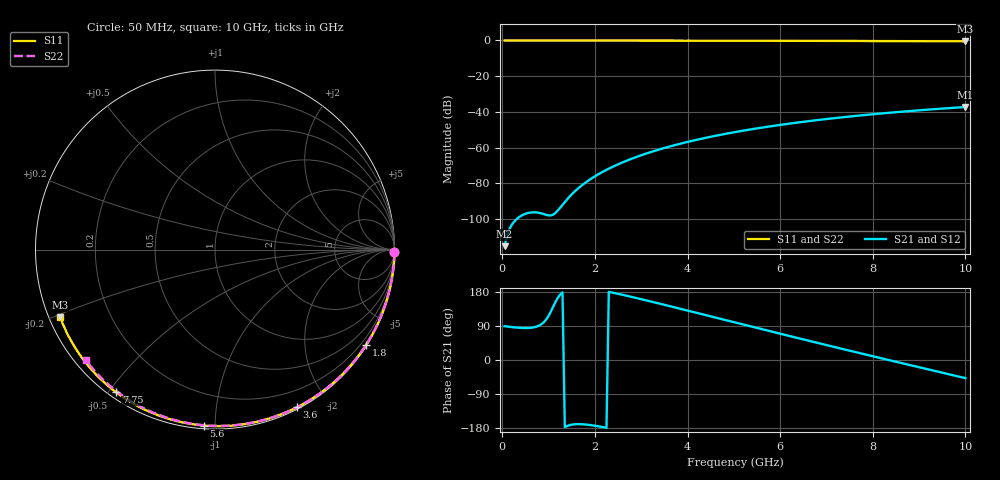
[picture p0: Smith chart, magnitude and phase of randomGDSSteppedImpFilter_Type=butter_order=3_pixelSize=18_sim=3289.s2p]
! freq	dB(S11)	phase(S11)	dB(S12)	phase(S12)
!  dB(S21)	phase(S21)	dB(S22)	phase(S22)
!S-par simulation data
#  GHz  S  DB  R 50
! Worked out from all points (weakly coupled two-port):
!   200 points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, 50 MHz to 10 GHz, reference 50 ohm
!   highest |S21| = -37.28 dB at 10 GHz (marker M1); lowest = -115.2 dB at 50 MHz (marker M2)
!   lowest |S11| = -0.5 dB at 10 GHz (marker M3), VSWR 33.03, Z = 1.58 - j10.4 ohm
!   |S11| at or under -10 dB: nowhere
!   |S22| runs from -0.5 to 0.0 dB; largest |S21 - S12| = 0
!   S11 on the Smith chart (normalised r, x): 50 MHz: open; 1.8 GHz: 0.03, -3.48; 3.6 GHz: 0.02, -1.65; 5.6 GHz: 0.02, -0.94; 7.75 GHz: 0.02, -0.52; 10 GHz: 0.03, -0.21
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0.05  -0.00 -0.9  -115.21 89.2  -115.21 89.2  -0.00 -0.8
0.45  -0.01 -8.2  -97.62 84.4  -97.62 84.4  -0.01 -7.3
0.9  -0.02 -16.2  -97.28 100.1  -97.28 100.1  -0.02 -14.4
1.3  -0.03 -23.3  -92.03 178.5  -92.03 178.5  -0.03 -20.8
1.75  -0.04 -31.2  -80.50 -169.7  -80.50 -169.7  -0.04 -27.8
1.8  -0.04 -32.1  -79.54 -170.2  -79.54 -170.2  -0.04 -28.6
1.95  -0.04 -34.7  -76.89 -172.5  -76.89 -172.5  -0.04 -30.9
2.1  -0.05 -37.3  -74.56 -175.5  -74.56 -175.5  -0.04 -33.3
2.3  -0.05 -40.8  -71.80 179.8  -71.80 179.8  -0.05 -36.3
2.5  -0.06 -44.2  -69.37 174.6  -69.37 174.6  -0.05 -39.4
2.9  -0.07 -50.9  -65.21 163.4  -65.21 163.4  -0.06 -45.5
3.4  -0.08 -59.2  -60.97 148.7  -60.97 148.7  -0.07 -52.9
3.6  -0.08 -62.5  -59.49 142.6  -59.49 142.6  -0.08 -55.8
4.3  -0.11 -73.7  -55.04 121.3  -55.04 121.3  -0.09 -66.0
5.05  -0.13 -85.4  -51.20 98.3  -51.20 98.3  -0.12 -76.5
5.6  -0.16 -93.7  -48.83 81.5  -48.83 81.5  -0.14 -84.0
6.15  -0.18 -101.8  -46.75 64.9  -46.75 64.9  -0.16 -91.3
6.7  -0.21 -109.8  -44.92 48.3  -44.92 48.3  -0.19 -98.5
7.75  -0.29 -124.7  -41.94 17.2  -41.94 17.2  -0.26 -111.8
8.35  -0.34 -133.1  -40.50 -0.3  -40.50 -0.3  -0.31 -119.2
9.2  -0.43 -145.0  -38.71 -24.9  -38.71 -24.9  -0.38 -129.6
10  -0.53 -156.4  -37.28 -47.9  -37.28 -47.9  -0.47 -139.4
